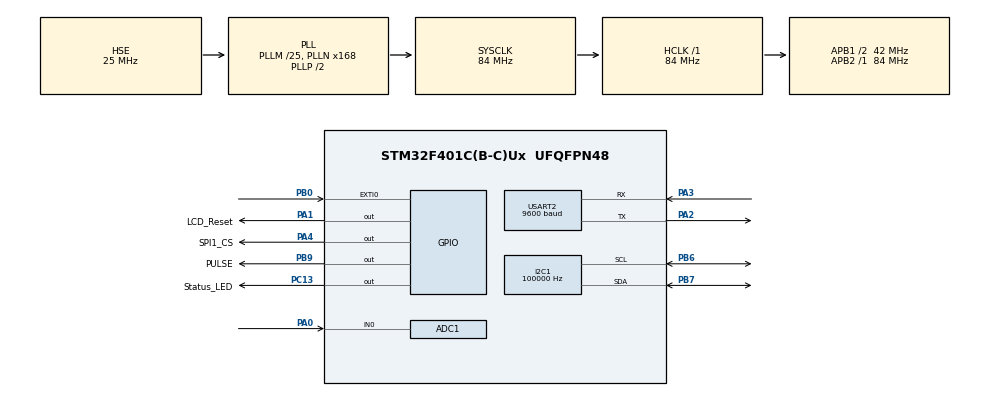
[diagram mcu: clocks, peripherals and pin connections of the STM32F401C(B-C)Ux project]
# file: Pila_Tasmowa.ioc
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ADC1.Channel-0\#ChannelRegularConversion=ADC_CHANNEL_0
ADC1.NbrOfConversionFlag=1
ADC1.Rank-0\#ChannelRegularConversion=1
ADC1.SamplingTime-0\#ChannelRegularConversion=ADC_SAMPLETIME_3CYCLES
ADC1.master=1
Dma.Request0=USART2_TX
Dma.USART2_TX.0.Direction=DMA_MEMORY_TO_PERIPH
Dma.USART2_TX.0.FIFOMode=DMA_FIFOMODE_DISABLE
Dma.USART2_TX.0.Instance=DMA1_Stream6
Dma.USART2_TX.0.MemDataAlignment=DMA_MDATAALIGN_BYTE
Dma.USART2_TX.0.MemInc=DMA_MINC_ENABLE
Dma.USART2_TX.0.Mode=DMA_CIRCULAR
Dma.USART2_TX.0.PeriphDataAlignment=DMA_PDATAALIGN_BYTE
Dma.USART2_TX.0.PeriphInc=DMA_PINC_DISABLE
Dma.USART2_TX.0.Priority=DMA_PRIORITY_HIGH
FREERTOS.BinarySemaphores01=InOutSem,Dynamic,NULL
FREERTOS.Tasks01=Input,3,128,StartInput,Default,NULL,Dynamic,NULL,NULL;Compute,0,128,StartCompute,Default,NULL,Dynamic,NULL,NULL;Output,0,128,StartOutput,Default,NULL,Dynamic,NULL,NULL;Auto,0,128,StartAuto,Default,NULL,Dynamic,NULL,NULL;Manual,0,128,StartManual,Default,NULL,Dynamic,NULL,NULL;LCDUpdate,0,128,StartLCDUpdate,Default,NULL,Dynamic,NULL,NULL
FREERTOS.Timers01=OTimer1,OTimer1Callback,osTimerOnce,Default,NULL,Dynamic,NULL;OTimer2,OTimer2Callback,osTimerOnce,Default,NULL,Dynamic,NULL;OTimer3,OTimer3Callback,osTimerOnce,Default,NULL,Dynamic,NULL;OTimer4,OTimer4Callback,osTimerOnce,Default,NULL,Dynamic,NULL;OTimer5,OTimer5Callback,osTimerOnce,Default,NULL,Dynamic,NULL;OTimer6,OTimer6Callback,osTimerOnce,Default,NULL,Dynamic,NULL;OTimer7,OTimer7Callback,osTimerOnce,Default,NULL,Dynamic,NULL;OTimer8,OTimer8Callback,osTimerOnce,Default,NULL,Dynamic,NULL;OTimer9,OTimer9Callback,osTimerOnce,Default,NULL,Dynamic,NULL;OTimer10,OTimer10Callback,osTimerOnce,Default,NULL,Dynamic,NULL
FREERTOS.configTIMER_TASK_PRIORITY=6
FREERTOS.configUSE_NEWLIB_REENTRANT=1
FREERTOS.configUSE_PREEMPTION=1
FREERTOS.configUSE_TIMERS=1
I2C1.ClockSpeed=100000
I2C1.I2C_Mode=I2C_Standard
Mcu.Family=STM32F4
Mcu.Name=STM32F401C(B-C)Ux
Mcu.Package=UFQFPN48
NVIC.DMA1_Stream6_IRQn=true\:5\:0\:false\:false\:true\:true\:false\:true\:true
NVIC.PriorityGroup=NVIC_PRIORITYGROUP_4
NVIC.TIM1_UP_TIM10_IRQn=true\:15\:0\:false\:false\:true\:false\:false\:true\:true
NVIC.TimeBase=TIM1_UP_TIM10_IRQn
NVIC.TimeBaseIP=TIM1
PA0-WKUP.Signal=ADCx_IN0
PA1.GPIO_Label=LCD_Reset
PA1.GPIO_Speed=GPIO_SPEED_FREQ_HIGH
PA1.PinState=GPIO_PIN_SET
PA1.Signal=GPIO_Output
PA13.Mode=Serial_Wire
PA13.Signal=SYS_JTMS-SWDIO
PA14.Mode=Serial_Wire
PA14.Signal=SYS_JTCK-SWCLK
PA2.GPIO_PuPd=GPIO_PULLUP
PA2.Mode=Asynchronous
PA2.Signal=USART2_TX
PA3.GPIO_PuPd=GPIO_PULLUP
PA3.Mode=Asynchronous
PA3.Signal=USART2_RX
PA4.GPIO_Label=SPI1_CS
PA4.GPIO_Speed=GPIO_SPEED_FREQ_HIGH
PA4.PinState=GPIO_PIN_SET
PA4.Signal=GPIO_Output
PB0.Signal=GPXTI0
PB6.Mode=I2C
PB6.Signal=I2C1_SCL
PB7.Mode=I2C
PB7.Signal=I2C1_SDA
PB9.GPIO_Label=PULSE
PB9.Signal=GPIO_Output
PC13-ANTI_TAMP.GPIO_Label=Status_LED
PC13-ANTI_TAMP.Signal=GPIO_Output
PC14-OSC32_IN.Mode=LSE-External-Oscillator
PC14-OSC32_IN.Signal=RCC_OSC32_IN
PC15-OSC32_OUT.Mode=LSE-External-Oscillator
PC15-OSC32_OUT.Signal=RCC_OSC32_OUT
PH0\ -\ OSC_IN.Mode=HSE-External-Oscillator
PH0\ -\ OSC_IN.Signal=RCC_OSC_IN
PH1\ -\ OSC_OUT.Mode=HSE-External-Oscillator
PH1\ -\ OSC_OUT.Signal=RCC_OSC_OUT
ProjectManager.HeapSize=0x200
ProjectManager.StackSize=0x400
ProjectManager.TargetToolchain=STM32CubeIDE
RCC.48MHZClocksFreq_Value=24000000
RCC.AHBFreq_Value=84000000
RCC.APB1CLKDivider=RCC_HCLK_DIV2
RCC.APB1Freq_Value=42000000
RCC.APB1TimFreq_Value=84000000
RCC.APB2Freq_Value=84000000
RCC.APB2TimFreq_Value=84000000
RCC.CortexFreq_Value=84000000
RCC.HCLKFreq_Value=84000000
RCC.HSE_VALUE=25000000
RCC.HSI_VALUE=16000000
RCC.PLLM=25
RCC.PLLN=168
RCC.PLLQ=7
RCC.PLLSourceVirtual=RCC_PLLSOURCE_HSE
RCC.SYSCLKFreq_VALUE=84000000
RCC.SYSCLKSource=RCC_SYSCLKSOURCE_PLLCLK
RCC.VCOOutputFreq_Value=168000000
SH.ADCx_IN0.0=ADC1_IN0,IN0
USART2.BaudRate=9600
USART2.VirtualMode=VM_ASYNC
VP_FREERTOS_VS_CMSIS_V1.Mode=CMSIS_V1
VP_SYS_VS_tim1.Mode=TIM1
board=custom

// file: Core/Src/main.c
/* USER CODE BEGIN Header */
/**
  ******************************************************************************
  * @file           : main.c
  * @brief          : Main program body
  ******************************************************************************
  * @attention
  *
  * <h2><center>&copy; Copyright (c) 2022 STMicroelectronics.
  * All rights reserved.</center></h2>
  *
  * This software component is licensed by ST under BSD 3-Clause license,
  * the "License"; You may not use this file except in compliance with the
  * License. You may obtain a copy of the License at:
  *                        opensource.org/licenses/BSD-3-Clause
  *
  ******************************************************************************
  */
/* USER CODE END Header */
#include "main.h"
#include "cmsis_os.h"
#include "adc.h"
#include "dma.h"
#include "i2c.h"
#include "usart.h"
#include "gpio.h"

/* USER CODE BEGIN Includes */
#include "Pila.h"
#include "UART_LCD.h"
#include <stdlib.h>
#include <stdio.h>
#include <string.h>
/* USER CODE END Includes */

/* USER CODE BEGIN PM */
#define CS_HIGH 	HAL_GPIO_WritePin(SPI1_CS_GPIO_Port, SPI1_CS_Pin, 1)
#define CS_LOW	 	HAL_GPIO_WritePin(SPI1_CS_GPIO_Port, SPI1_CS_Pin, 0)

/* USER CODE END PM */

/* USER CODE BEGIN PV */
uint8_t Data[3] = {OUTPUT_REGISTER, 0x00, 0x00}; //0b0000 1100, write to output ports
uint8_t Config[3] = {CONFIG_REGISTER, 0x00, 0x00}; //0b1100 0000, Port 1 configure as output, Port 0 configure as output
extern uint16_t PartCounter;
uint8_t StringBuffer[50];
uint8_t size = 0;

/* USER CODE END PV */

void SystemClock_Config(void);
void MX_FREERTOS_Init(void);

int main(void)
{

  /* MCU Configuration--------------------------------------------------------*/

  /* Reset of all peripherals, Initializes the Flash interface and the Systick. */
  HAL_Init();

  /* Configure the system clock */
  SystemClock_Config();

  /* Initialize all configured peripherals */
  MX_GPIO_Init();
  MX_DMA_Init();
  MX_ADC1_Init();
  MX_I2C1_Init();
  MX_USART2_UART_Init();
  /* USER CODE BEGIN 2 */
  //Send configuration to PCA to output via I2C command (set to OUTPUT and output state to OFF)
  HAL_I2C_Master_Transmit(&hi2c1, OUTPUT_MODULE_ADDR_1, Config, 3, 10);
  HAL_I2C_Master_Transmit(&hi2c1, OUTPUT_MODULE_ADDR_2, Config, 3, 10);
  HAL_I2C_Master_Transmit(&hi2c1, OUTPUT_MODULE_ADDR_1, Data, 3, 10);
  HAL_I2C_Master_Transmit(&hi2c1, OUTPUT_MODULE_ADDR_2, Data, 3, 10);

  LCD_Init();

  /* USER CODE END 2 */

  /* Call init function for freertos objects (in cmsis_os2.c) */
  MX_FREERTOS_Init();

  /* Start scheduler */
  osKernelStart();

  /* We should never get here as control is now taken by the scheduler */

  /* Infinite loop */
  while (1)
  {

  }
}

void SystemClock_Config(void)
{
  RCC_OscInitTypeDef RCC_OscInitStruct = {0};
  RCC_ClkInitTypeDef RCC_ClkInitStruct = {0};

  /** Configure the main internal regulator output voltage
  */
  __HAL_RCC_PWR_CLK_ENABLE();
  __HAL_PWR_VOLTAGESCALING_CONFIG(PWR_REGULATOR_VOLTAGE_SCALE2);

  /** Initializes the RCC Oscillators according to the specified parameters
  * in the RCC_OscInitTypeDef structure.
  */
  RCC_OscInitStruct.OscillatorType = RCC_OSCILLATORTYPE_HSE;
  RCC_OscInitStruct.HSEState = RCC_HSE_ON;
  RCC_OscInitStruct.PLL.PLLState = RCC_PLL_ON;
  RCC_OscInitStruct.PLL.PLLSource = RCC_PLLSOURCE_HSE;
  RCC_OscInitStruct.PLL.PLLM = 25;
  RCC_OscInitStruct.PLL.PLLN = 168;
  RCC_OscInitStruct.PLL.PLLP = RCC_PLLP_DIV2;
  RCC_OscInitStruct.PLL.PLLQ = 7;
  if (HAL_RCC_OscConfig(&RCC_OscInitStruct) != HAL_OK)
  {
    Error_Handler();
  }

  /** Initializes the CPU, AHB and APB buses clocks
  */
  RCC_ClkInitStruct.ClockType = RCC_CLOCKTYPE_HCLK|RCC_CLOCKTYPE_SYSCLK
                              |RCC_CLOCKTYPE_PCLK1|RCC_CLOCKTYPE_PCLK2;
  RCC_ClkInitStruct.SYSCLKSource = RCC_SYSCLKSOURCE_PLLCLK;
  RCC_ClkInitStruct.AHBCLKDivider = RCC_SYSCLK_DIV1;
  RCC_ClkInitStruct.APB1CLKDivider = RCC_HCLK_DIV2;
  RCC_ClkInitStruct.APB2CLKDivider = RCC_HCLK_DIV1;

  if (HAL_RCC_ClockConfig(&RCC_ClkInitStruct, FLASH_LATENCY_2) != HAL_OK)
  {
    Error_Handler();
  }
}

void HAL_TIM_PeriodElapsedCallback(TIM_HandleTypeDef *htim)
{
  if (htim->Instance == TIM1)
  {
    HAL_IncTick();
  }
}

void Error_Handler(void)
{
  __disable_irq();
  while (1)
  {
  }
}

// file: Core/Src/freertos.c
/* USER CODE BEGIN Header */
/**
  ******************************************************************************
  * File Name          : freertos.c
  * Description        : Code for freertos applications
  ******************************************************************************
  * @attention
  *
  * <h2><center>&copy; Copyright (c) 2022 STMicroelectronics.
  * All rights reserved.</center></h2>
  *
  * This software component is licensed by ST under Ultimate Liberty license
  * SLA0044, the "License"; You may not use this file except in compliance with
  * the License. You may obtain a copy of the License at:
  *                             www.st.com/SLA0044
  *
  ******************************************************************************
  */
/* USER CODE END Header */

#include "FreeRTOS.h"
#include "task.h"
#include "main.h"
#include "cmsis_os.h"

/* USER CODE BEGIN Includes */
#include "i2c.h"
#include "Pila.h"
#include "UART_LCD.h"
#include <stdlib.h>
#include <stdio.h>
/* USER CODE END Includes */

/* USER CODE BEGIN PD */
#define OS_DELAY 20
#define LCD_DELAY 60
#define BUTTON_PRESS_DELAY 10
#define BUTTON_HOLD_DELAY 1
/* USER CODE END PD */

/* USER CODE BEGIN Variables */
uint8_t Input_1[2];			//Input data buffer
uint8_t Input_2[2];
uint8_t Input_3[2];
uint8_t Input_4[2];
uint16_t Input_1_Sum = 0;
uint16_t Input_2_Sum = 0;
uint16_t Input_3_Sum = 0;
uint8_t SawTension = 0;
uint8_t SawMatClamp = 0;
uint8_t MatClamp = 0;
uint8_t SawDownDelay = 0;
uint8_t CheckForBrokenSaw = 0;
uint8_t Step = 0;
uint8_t IsRunning = 0;
uint8_t EmergencyStop = 0;
uint8_t BrokenBlade = 0;
///////////////////////////////////////////BUTTTON CONTROLL BEGIN
uint8_t LeftButtonPressed = 0;
uint8_t RightButtonPressed = 0;
uint8_t CenterButtonPressed = 0;
uint8_t LeftButtonPressDuration = BUTTON_PRESS_DELAY;
uint8_t RightButtonPressDuration = BUTTON_PRESS_DELAY;
uint8_t CenterButtonPressDuration = BUTTON_PRESS_DELAY;
///////////////////////////////////////////BUTTON CONTROLL END
uint16_t NominalPartCount =  1;
uint16_t CompletePartCount = 0;
char LCDBufferLine1 [25];
char LCDBufferLine2 [25];
/*************************/
uint8_t Output_1[3] = {OUTPUT_REGISTER, 0x00, 0x00};		//Output data buffer
uint8_t Output_2[3] = {OUTPUT_REGISTER, 0x00, 0x00};
uint16_t Output_1_Sum = 0;
uint16_t Output_2_Sum = 0;

///////////////////////////////////////////RGB CONTROLL BEGIN
uint8_t BacklightColor = BLUE;

///////////////////////////////////////////RGB CONTROLL END

/* USER CODE END Variables */
osThreadId InputHandle;
osThreadId ComputeHandle;
osThreadId OutputHandle;
osThreadId AutoHandle;
osThreadId ManualHandle;
osThreadId LCDUpdateHandle;
osTimerId OTimer1Handle;
osTimerId OTimer2Handle;
osTimerId OTimer3Handle;
osTimerId OTimer4Handle;
osTimerId OTimer5Handle;
osTimerId OTimer6Handle;
osTimerId OTimer7Handle;
osTimerId OTimer8Handle;
osTimerId OTimer9Handle;
osTimerId OTimer10Handle;
osSemaphoreId InOutSemHandle;

/* USER CODE BEGIN FunctionPrototypes */
void AllOutputsOff(void);
void UpdateLCDDisplay (void);
void ButtonRoutine(void);
/* USER CODE END FunctionPrototypes */

void StartInput(void const * argument);
void StartCompute(void const * argument);
void StartOutput(void const * argument);
void StartAuto(void const * argument);
void StartManual(void const * argument);
void StartLCDUpdate(void const * argument);
void OTimer1Callback(void const * argument);
void OTimer2Callback(void const * argument);
void OTimer3Callback(void const * argument);
void OTimer4Callback(void const * argument);
void OTimer5Callback(void const * argument);
void OTimer6Callback(void const * argument);
void OTimer7Callback(void const * argument);
void OTimer8Callback(void const * argument);
void OTimer9Callback(void const * argument);
void OTimer10Callback(void const * argument);

void MX_FREERTOS_Init(void); /* (MISRA C 2004 rule 8.1) */

/* GetIdleTaskMemory prototype (linked to static allocation support) */
void vApplicationGetIdleTaskMemory( StaticTask_t **ppxIdleTaskTCBBuffer, StackType_t **ppxIdleTaskStackBuffer, uint32_t *pulIdleTaskStackSize );

/* GetTimerTaskMemory prototype (linked to static allocation support) */
void vApplicationGetTimerTaskMemory( StaticTask_t **ppxTimerTaskTCBBuffer, StackType_t **ppxTimerTaskStackBuffer, uint32_t *pulTimerTaskStackSize );

/* USER CODE BEGIN GET_IDLE_TASK_MEMORY */
static StaticTask_t xIdleTaskTCBBuffer;
static StackType_t xIdleStack[configMINIMAL_STACK_SIZE];

void vApplicationGetIdleTaskMemory( StaticTask_t **ppxIdleTaskTCBBuffer, StackType_t **ppxIdleTaskStackBuffer, uint32_t *pulIdleTaskStackSize )
{
  *ppxIdleTaskTCBBuffer = &xIdleTaskTCBBuffer;
  *ppxIdleTaskStackBuffer = &xIdleStack[0];
  *pulIdleTaskStackSize = configMINIMAL_STACK_SIZE;
  /* place for user code */
}
/* USER CODE END GET_IDLE_TASK_MEMORY */

/* USER CODE BEGIN GET_TIMER_TASK_MEMORY */
static StaticTask_t xTimerTaskTCBBuffer;
static StackType_t xTimerStack[configTIMER_TASK_STACK_DEPTH];

void vApplicationGetTimerTaskMemory( StaticTask_t **ppxTimerTaskTCBBuffer, StackType_t **ppxTimerTaskStackBuffer, uint32_t *pulTimerTaskStackSize )
{
  *ppxTimerTaskTCBBuffer = &xTimerTaskTCBBuffer;
  *ppxTimerTaskStackBuffer = &xTimerStack[0];
  *pulTimerTaskStackSize = configTIMER_TASK_STACK_DEPTH;
  /* place for user code */
}
/* USER CODE END GET_TIMER_TASK_MEMORY */

void MX_FREERTOS_Init(void) {

  /* Create the semaphores(s) */
  /* definition and creation of InOutSem */
  osSemaphoreDef(InOutSem);
  InOutSemHandle = osSemaphoreCreate(osSemaphore(InOutSem), 1);

  /* Create the timer(s) */
  /* definition and creation of OTimer1 */
  osTimerDef(OTimer1, OTimer1Callback);
  OTimer1Handle = osTimerCreate(osTimer(OTimer1), osTimerOnce, NULL);

  /* definition and creation of OTimer2 */
  osTimerDef(OTimer2, OTimer2Callback);
  OTimer2Handle = osTimerCreate(osTimer(OTimer2), osTimerOnce, NULL);

  /* definition and creation of OTimer3 */
  osTimerDef(OTimer3, OTimer3Callback);
  OTimer3Handle = osTimerCreate(osTimer(OTimer3), osTimerOnce, NULL);

  /* definition and creation of OTimer4 */
  osTimerDef(OTimer4, OTimer4Callback);
  OTimer4Handle = osTimerCreate(osTimer(OTimer4), osTimerOnce, NULL);

  /* definition and creation of OTimer5 */
  osTimerDef(OTimer5, OTimer5Callback);
  OTimer5Handle = osTimerCreate(osTimer(OTimer5), osTimerOnce, NULL);

  /* definition and creation of OTimer6 */
  osTimerDef(OTimer6, OTimer6Callback);
  OTimer6Handle = osTimerCreate(osTimer(OTimer6), osTimerOnce, NULL);

  /* definition and creation of OTimer7 */
  osTimerDef(OTimer7, OTimer7Callback);
  OTimer7Handle = osTimerCreate(osTimer(OTimer7), osTimerOnce, NULL);

  /* definition and creation of OTimer8 */
  osTimerDef(OTimer8, OTimer8Callback);
  OTimer8Handle = osTimerCreate(osTimer(OTimer8), osTimerOnce, NULL);

  /* definition and creation of OTimer9 */
  osTimerDef(OTimer9, OTimer9Callback);
  OTimer9Handle = osTimerCreate(osTimer(OTimer9), osTimerOnce, NULL);

  /* definition and creation of OTimer10 */
  osTimerDef(OTimer10, OTimer10Callback);
  OTimer10Handle = osTimerCreate(osTimer(OTimer10), osTimerOnce, NULL);

  /* Create the thread(s) */
  /* definition and creation of Input */
  osThreadDef(Input, StartInput, osPriorityRealtime, 0, 128);
  InputHandle = osThreadCreate(osThread(Input), NULL);

  /* definition and creation of Compute */
  osThreadDef(Compute, StartCompute, osPriorityNormal, 0, 128);
  ComputeHandle = osThreadCreate(osThread(Compute), NULL);

  /* definition and creation of Output */
  osThreadDef(Output, StartOutput, osPriorityNormal, 0, 128);
  OutputHandle = osThreadCreate(osThread(Output), NULL);

  /* definition and creation of Auto */
  osThreadDef(Auto, StartAuto, osPriorityNormal, 0, 128);
  AutoHandle = osThreadCreate(osThread(Auto), NULL);

  /* definition and creation of Manual */
  osThreadDef(Manual, StartManual, osPriorityNormal, 0, 128);
  ManualHandle = osThreadCreate(osThread(Manual), NULL);

  /* definition and creation of LCDUpdate */
  osThreadDef(LCDUpdate, StartLCDUpdate, osPriorityNormal, 0, 128);
  LCDUpdateHandle = osThreadCreate(osThread(LCDUpdate), NULL);

}

void StartInput(void const * argument)
{
  /* USER CODE BEGIN StartInput */
  /* Infinite loop */
  for(;;)
  {
	  osSemaphoreWait(InOutSemHandle, 1000);
	  HAL_I2C_Master_Receive(&hi2c1, INPUT_MODULE_ADDR_1, Input_1, 2, 10);
	  HAL_I2C_Master_Receive(&hi2c1, INPUT_MODULE_ADDR_2, Input_2, 2, 10);
	  HAL_I2C_Master_Receive(&hi2c1, INPUT_MODULE_ADDR_3, Input_3, 2, 10);
	  HAL_I2C_Master_Receive(&hi2c1, INPUT_MODULE_ADDR_4, Input_4, 2, 10);
	  Input_1_Sum = (Input_1[1]<<8) | Input_1[0];				//Combine 2 8bit registers to 1 16 bit for the ease of operation
	  Input_2_Sum = (Input_2[1]<<8) | Input_2[0];				//Combine 2 8bit registers to 1 16 bit for the ease of operation
	  Input_3_Sum = (Input_3[1]<<8) | Input_3[0];				//Combine 2 8bit registers to 1 16 bit for the ease of operation
	  osSemaphoreRelease(InOutSemHandle);

	osDelay(OS_DELAY);
  }
  /* USER CODE END StartInput */
}

void StartCompute(void const * argument)
{
  /* USER CODE BEGIN StartCompute */
  /* Infinite loop */
  for(;;)
  {
	  if(IN_0_16_AUTO_MANUAL)
	  	    {
	  	    	osThreadSuspend(ManualHandle);
	  	    	osThreadResume(AutoHandle);
	  	    	BacklightColor = GREEN;
	  	    }
	  	    else
	  	    {
	  	    	osThreadSuspend(AutoHandle);
	  	    	osThreadResume(ManualHandle);
	  	    	BacklightColor = WHITE;
	  	    }
	  osDelay(OS_DELAY);
  }
  /* USER CODE END StartCompute */
}

void StartOutput(void const * argument)
{
  /* USER CODE BEGIN StartOutput */
  /* Infinite loop */
  for(;;)
  {
	  osSemaphoreWait(InOutSemHandle, 1000);
	  Output_2[1] = Output_2_Sum>>8;
	  Output_2[2] = Output_2_Sum & 0x00ff;
	  Output_1[1] = Output_1_Sum>>8;
	  Output_1[2] = Output_1_Sum & 0x00ff;
	  HAL_I2C_Master_Transmit(&hi2c1, OUTPUT_MODULE_ADDR_1, Output_1, 3, 10);
	  HAL_I2C_Master_Transmit(&hi2c1, OUTPUT_MODULE_ADDR_2, Output_2, 3, 10);
	  //UpdateLCDDisplay();
	  osSemaphoreRelease(InOutSemHandle);
	  osDelay(OS_DELAY);
  }
  /* USER CODE END StartOutput */
}

void StartAuto(void const * argument)
{
  /* USER CODE BEGIN StartAuto */
  /* Infinite loop */
  for(;;)
  {

	  	/*Start automatic cycle, hydraulic pump has to be on, stop button NOT pressed, saw position up (up limit switch)*/
	if (IN_0_15_HPUMP && IN_0_14_START && IN_0_13_STOP && IN_1_13_SAFETY && !(/*IN_1_14_SAWUP_LS*/IN_1_9_SAWDOWN_LS))
	{
		/*Set the first step. Steps in increments of 10 for easy code modification and updates*/
		EmergencyStop = 0;
		BrokenBlade = 0;
		IsRunning = 1;
		Step = 10;
	}

	else if (!IsRunning)
	{
		if (IN_1_9_SAWDOWN_LS)
		{
			EmergencyStop = 1;
		}
		else
		{
			EmergencyStop = 0;
		}
	}

		/*Anytime if STOP is pressed, either hood open (safety latch), Hydraulic Pump turned off or either fuses blown (10 and 11), stop AUTO*/
	if(!(IN_0_13_STOP) || !(IN_1_13_SAFETY) || !(IN_0_15_HPUMP) || IN_1_16_FUSE10 || IN_1_15_FUSE11)
	{
		/*Step 0 is the stop for all output and the AUTO cycle*/
		BacklightColor = RED;
		EmergencyStop = 1;
		Step = 0;
	}
		/*Chip collector spiral ON/OFF. Can be toggled at any time in AUTO or MANUAL*/
	if(IN_0_2_CHIP)
	{
		OUT_0_7_CHIP_ON;
	}
	else
	{
		OUT_0_7_CHIP_OFF;
	}
		/*Broken blade detection. Passive wheel stall detection - stall means broken blade. This particular check is for the positive signal*/
	if (IN_1_8_ROTATION && CheckForBrokenSaw)
	{
		osTimerStart(OTimer7Handle, 3000);
	}
		/*Broken blade detection. Passive wheel stall detection - stall means broken blade. This particular check is for the negative signal*/
	if(!(IN_1_8_ROTATION) && CheckForBrokenSaw)
	{
		osTimerStart(OTimer8Handle, 4000);
	}
		/*Hydraulic Pump can be turned ON/OFF any time in the cycle. Turning off the HPump will stop the AUTO cycle and return the Step count to 0*/
	if(IN_0_15_HPUMP)
	{
		OUT_0_12_HPUMP_ON;
	}
	else
	{
		OUT_0_12_HPUMP_OFF;
	}

	if(IsRunning)
	{
		BacklightColor = GREEN;
		sprintf(LCDBufferLine1, "AUTO            ");
		if(!(IN_1_4_SELECT_COUNTER))
			sprintf(LCDBufferLine2, "CIECIE %d/%d      ", CompletePartCount, NominalPartCount);
		else
			sprintf(LCDBufferLine2, "LICZ MECHANICZNY");
	}

	switch (Step)
	{
		case 0: /*Stops all output and AUTO cycle*/
			AllOutputsOff();
				/*Display information if open hatch limit switch or safety E-STOP*/
			if (EmergencyStop)
			{
				if (!(IN_1_13_SAFETY)) 	//Hatch open/E-Stop active
				{
					//BacklightColor = RED;
					sprintf(LCDBufferLine1, "E-STOP/KRANCOWKA");
					sprintf(LCDBufferLine2, "KLAPA           ");
				}

				else if (IN_1_16_FUSE10)		//Blown Resetable fuse 10F1
				{
					//BacklightColor = RED;
					sprintf(LCDBufferLine1, "BEZPIECZNIK 10F1");
					sprintf(LCDBufferLine2, "                ");
				}

				else if (IN_1_15_FUSE11)		//Blown Resetable fuse 11F1
				{
					//BacklightColor = RED;
					sprintf(LCDBufferLine1, "BEZPIECZNIK 11F1");
					sprintf(LCDBufferLine2, "                ");
				}

				else if (!(IN_0_15_HPUMP))		//Hydraulic pump turned off
				{
					//BacklightColor = RED;
					sprintf(LCDBufferLine1, "POMPA HYDR.     ");
					sprintf(LCDBufferLine2, "WYLACZONA!      ");
				}
				else if ((!IsRunning) && (IN_1_9_SAWDOWN_LS))
				{
					BacklightColor = RED;
					sprintf(LCDBufferLine1, "OPUSC PILE      ");
					sprintf(LCDBufferLine2, "(TRYB RECZNY)   ");
				}

			}

			else if(BrokenBlade)
			{
				BacklightColor = RED;
				sprintf(LCDBufferLine1, "PILA ZERWANA    ");
				sprintf(LCDBufferLine2, "                ");
			}

			else
			{
				BacklightColor = GREEN;
				sprintf(LCDBufferLine1, "WCISNIJ         ");
				sprintf(LCDBufferLine2, "START!          ");
			}

				/*Display if broken blade detection worked*/

		break;
		case 10: /*Raises the blade. Redundant action since the blade has to be raised for the cycle to start. Leaving it here. Try and stop me!*/
				/*prepare material for cutting, now the blade starts at the bottom*/
			if(IN_1_7_FEED)
				{
				if (IN_1_14_SAWUP_LS)
					{
						OUT_0_3_SAWUP_ON;
					}
				}
				else
				{
					osDelay(500);
					OUT_0_3_SAW_UP_OFF;
					Step = 11;
				}
		break;
		case 11: /*Rear vice unclamp for reposition. Vice opening has no limit switch, timer based.*/
			if (IN_1_12_MAT_REV_LS)
			{

				OUT_0_9_MAT_CL_UNCLAMP_ON;
				osDelay(500);
				OUT_0_9_MAT_CL_UNCLAMP_OFF;
			}
			else if (!SawMatClamp)
			{

				osDelay(500);
			}
				Step = 12;
		break;

		case 12:/*Move the rear vice in to loading position. Limit switch based.*/
			if(IN_1_12_MAT_REV_LS)
			{
				OUT_0_10_MAT_FWD_ON;
			}
			else
			{
				OUT_0_10_MAT_FWD_OFF;
				Step = 13;
			}
		break;

		case 13: /*Clamp rear vice. Timer based.*/

				OUT_0_8_MAT_CL_CLAMP_ON;
				osDelay(1500);
				OUT_0_8_MAT_CL_CLAMP_OFF;
				Step = 14;

		break;

		case 14: /*Open the main vice slightly, release the cut material. No limit switches, timer based.*/

				OUT_0_6_SAW_CL_UNCLAMP_ON;
				osDelay(700);
				OUT_0_6_SAW_CL_UNCLAMP_OFF;
				Step = 15;
		break;

		case 15: /*Move the material forward, prepare next cut. Limit switch based.*/
			if(IN_1_11_MAT_FWD_LS)
			{
				OUT_0_11_MAT_REV_ON;
			}
			else
			{
				OUT_0_11_MAT_REV_OFF;
				Step = 20;
			}
		break;

		case 20: /*Clamp the main vice (front). No limit and pressure switch (yet). Clamping lasts 2sec. Manual material positioning requirement. Remove after installing a pressure switch.*/
			if (!SawMatClamp)
			{
				SawMatClamp = 1;
				OUT_0_5_SAW_CL_CLAMP_ON;
				osTimerStart(OTimer2Handle, 2000);
			}
		break;

		case 21: /*Rear vice unclamp for reposition. Vice opening has no limit switch, timer based.*/
			if (!(SawMatClamp) && IN_1_12_MAT_REV_LS)
			{
				SawMatClamp = 1;
				OUT_0_9_MAT_CL_UNCLAMP_ON;
				osTimerStart(OTimer6Handle, 500);
			}
			else if (!SawMatClamp)
			{
				SawMatClamp = 1;
				osTimerStart(OTimer6Handle, 500);
			}
		break;

		case 30: /*Move the rear vice in to loading position. Limit switch based.*/
			if(IN_1_12_MAT_REV_LS)
			{
				OUT_0_10_MAT_FWD_ON;
			}
			else
			{
				OUT_0_10_MAT_FWD_OFF;
				Step = 40;
			}
		break;

		case 40: /*Clamp rear vice. Timer based.*/
			if(!SawMatClamp)
			{
				SawMatClamp = 1;
				OUT_0_8_MAT_CL_CLAMP_ON;
				osTimerStart(OTimer9Handle, 1000);
			}

		break;

		case 50: /*Start the saw and according broken blade detection timers*/
			OUT_0_1_SAW_ON;
			/*This parameter starts the "Broken blade detection" feature. It starts after the blade is in motion. Otherwise it will stop preemptively.*/
			CheckForBrokenSaw = 1;
			osTimerStart(OTimer7Handle, 1000);
			osTimerStart(OTimer8Handle, 2000);
			Step = 60;
		break;

		case 60: /*Lower the saw. Start the cutting process. Limit switch based.*/
			if (IN_1_9_SAWDOWN_LS)
			{
				OUT_0_4_SAWDOWN_ON;
				OUT_0_7_CHIP_ON;
				OUT_0_16_3PHASE_BACK_ON;
				if(IN_1_7_FEED)
				{
					OUT_0_13_FAST_FEED_OFF;
				}
				else
				{
					OUT_0_13_FAST_FEED_ON;
				}
			}
			else
			{
				OUT_0_13_FAST_FEED_OFF;
				/*Reach the lower limit switch and wait for 2 seconds.*/
				if(!(SawDownDelay))
				{
					SawDownDelay = 1;
					/*Increment the counter*/ //TODO Old Timer incrementation lives here
					if(!(IN_1_4_SELECT_COUNTER))
						CompletePartCount++;
					else
					{
						OUT_0_2_COUNTER_ON;
						osDelay(100);
						OUT_0_2_COUNTER_OFF;
					}
					osTimerStart(OTimer3Handle, 1000);
				}
			}
		break;

		case 70: /*Raise the blade again to the feed limit switch. Limit switch based. You know the drill... saw...*/
			if(IN_1_7_FEED)
				{
				if (IN_1_14_SAWUP_LS)
					{
						OUT_0_3_SAWUP_ON;
					}
				}
				else
				{
					osDelay(500);
					OUT_0_3_SAW_UP_OFF;
					Step = 80;
				}
		break;

		case 80: /*Open the main vice slightly, release the cut material. No limit switches, timer based.*/
			if (!(SawMatClamp) && IN_1_5_SAW_CL_UNCLAMP_LS)
			{
				SawMatClamp = 1;
				OUT_0_6_SAW_CL_UNCLAMP_ON;
				osTimerStart(OTimer4Handle, 700);
			}
		break;

		case 90: /*Move the material forward, prepare next cut. Limit switch based.*/
			if(IN_1_11_MAT_FWD_LS)
			{
				OUT_0_11_MAT_REV_ON;
			}
			else
			{
				OUT_0_11_MAT_REV_OFF;
				Step = 100;
			}
		break;

		case 100: /*Reclamp the main vice. No limit switches, timer based.*/
			if (!SawMatClamp)
			{
				SawMatClamp = 1;
				OUT_0_5_SAW_CL_CLAMP_ON;
				osTimerStart(OTimer5Handle, 2000);
			}
		break;

		case 110: /*Loosen the rear vice slightly. Timer based. Repeat the cutting cycle. Jump to Step 21*/
			if(!(MatClamp))
			{
				MatClamp = 1;
				//OUT_0_9_MAT_CL_UNCLAMP_ON;
				osTimerStart(OTimer2Handle, 300);
			}
		break;

	}
    osDelay(OS_DELAY);
  }
  /* USER CODE END StartAuto */
}

void StartManual(void const * argument)
{
  /* USER CODE BEGIN StartManual */
  /* Infinite loop */

  for(;;)
  {
	  if (IsRunning == 1)
	  {
		  AllOutputsOff();
		  IsRunning = 0;
	  }
	  /*Reset the broken saw check, so that it works correctly when the machine is switched back to AUTO.*/
	  CheckForBrokenSaw = 0;
	  EmergencyStop = 0;
	  BrokenBlade = 0;

	  /*Use this function to set the status and part counter*/
	  ButtonRoutine();
	  BacklightColor = WHITE;
	  sprintf(LCDBufferLine1, "Wprowadz ilosc  ");
	  sprintf(LCDBufferLine2, "           %d    ", NominalPartCount);

	if (IN_0_15_HPUMP)
	{
		OUT_0_12_HPUMP_ON;
	}
	else
	{
		OUT_0_12_HPUMP_OFF;
	}

	if (IN_0_14_START && IN_0_13_STOP)
		{
			OUT_0_1_SAW_ON;
		}

	if(!(IN_0_13_STOP))
	{
		OUT_0_1_SAW_OFF;
	}

	if(IN_0_12_SAWUP && IN_1_14_SAWUP_LS)
	{
		OUT_0_3_SAWUP_ON;
	}
	else
	{
		OUT_0_3_SAW_UP_OFF;
	}

	if(IN_0_11_SDOWN && IN_1_9_SAWDOWN_LS)
	{
		OUT_0_4_SAWDOWN_ON;
	}
	else
	{
		OUT_0_4_SAW_DOWN_OFF;
	}

	if(IN_0_10_MAT_CL_UNCLAMP)
	{
		OUT_0_9_MAT_CL_UNCLAMP_ON;
	}
	else
	{
		OUT_0_9_MAT_CL_UNCLAMP_OFF;
	}

	if(IN_0_9_MAT_CL_CLAMP)
	{
		OUT_0_8_MAT_CL_CLAMP_ON;
	}
	else
	{
		OUT_0_8_MAT_CL_CLAMP_OFF;
	}

	if(IN_0_8_MAT_REV && IN_1_11_MAT_FWD_LS)
	{
		OUT_0_11_MAT_REV_ON;
	}
	else
	{
		OUT_0_11_MAT_REV_OFF;
	}

	if(IN_0_7_MAT_FWD && IN_1_12_MAT_REV_LS)
	{
		OUT_0_10_MAT_FWD_ON;
	}
	else
	{
		OUT_0_10_MAT_FWD_OFF;
	}

	if(IN_0_6_SAW_CL_UNCLAMP && IN_1_5_SAW_CL_UNCLAMP_LS)
	{
		OUT_0_6_SAW_CL_UNCLAMP_ON;
	}
	else
	{
		OUT_0_6_SAW_CL_UNCLAMP_OFF;
	}

	if(IN_0_5_SAW_CL_CLAMP)
	{
		OUT_0_5_SAW_CL_CLAMP_ON;
	}
	else
	{
		OUT_0_5_SAW_CL_CLAMP_OFF;
	}

	if(IN_0_4_TENSION_UP)
	{
		if (!(SawTension))
		{
		SawTension = 1;
		OUT_0_14_TENSION_UP_ON;
		osTimerStart(OTimer1Handle, 5000);
		}
	}
	else
	{
		OUT_0_14_TENSION_UP_OFF;
		osTimerStop(OTimer1Handle);
	}

	if(IN_0_3_TENSION_DOWN)
	{
		SawTension = 0;
		OUT_0_15_TENSION_DOWN_ON;
	}
	else
	{
		OUT_0_15_TENSION_DOWN_OFF;
	}

	if(IN_0_2_CHIP)
	{
		OUT_0_7_CHIP_ON;
	}
	else
	{
		OUT_0_7_CHIP_OFF;
	}

    osDelay(OS_DELAY);
  }
  /* USER CODE END StartManual */
}

void StartLCDUpdate(void const * argument)
{
  /* USER CODE BEGIN StartLCDUpdate */
  /* Infinite loop */
  for(;;)
  {
	  osSemaphoreWait(InOutSemHandle, 1000);
	  UpdateLCDDisplay();
	  osSemaphoreRelease(InOutSemHandle);
	  osDelay(LCD_DELAY);
  }
  /* USER CODE END StartLCDUpdate */
}

/* OTimer1Callback function */
void OTimer1Callback(void const * argument)
{
  /* USER CODE BEGIN OTimer1Callback */
	OUT_0_14_TENSION_UP_OFF;
  /* USER CODE END OTimer1Callback */
}

/* OTimer2Callback function */
void OTimer2Callback(void const * argument)
{
  /* USER CODE BEGIN OTimer2Callback */
	MatClamp = 0;
	SawMatClamp = 0;
	OUT_0_5_SAW_CL_CLAMP_OFF;
	OUT_0_9_MAT_CL_UNCLAMP_OFF;
	Step = 21;
  /* USER CODE END OTimer2Callback */
}

/* OTimer3Callback function */
void OTimer3Callback(void const * argument)
{
  /* USER CODE BEGIN OTimer3Callback */
	SawDownDelay = 0;
	OUT_0_4_SAW_DOWN_OFF;
	if(!(IN_1_4_SELECT_COUNTER))
	{
		if((CompletePartCount != NominalPartCount)/*!(IN_0_1_COUNTER)*/ && IN_1_10_MAT_CLAMP)		//TODO wyedytowany licznik fizyczny na licznik cyfrowy z LCD
		{
			Step = 70;
		}
		else
		{
			Step = 0;
			IsRunning = 0;
			CompletePartCount = 0;
		}
	}
	else
	{
		if(/*(CompletePartCount != NominalPartCount)*/!(IN_0_1_COUNTER) && IN_1_10_MAT_CLAMP)		//TODO wyedytowany licznik fizyczny na licznik cyfrowy z LCD
				{
					Step = 70;
				}
				else
				{
					Step = 0;
					IsRunning = 0;
					CompletePartCount = 0;
				}
	}
  /* USER CODE END OTimer3Callback */
}

/* OTimer4Callback function */
void OTimer4Callback(void const * argument)
{
  /* USER CODE BEGIN OTimer4Callback */
	SawMatClamp = 0;
	OUT_0_6_SAW_CL_UNCLAMP_OFF;
	Step = 90;
  /* USER CODE END OTimer4Callback */
}

/* OTimer5Callback function */
void OTimer5Callback(void const * argument)
{
  /* USER CODE BEGIN OTimer5Callback */
	SawMatClamp = 0;
	OUT_0_5_SAW_CL_CLAMP_ON;
	Step = 110;
  /* USER CODE END OTimer5Callback */
}

/* OTimer6Callback function */
void OTimer6Callback(void const * argument)
{
  /* USER CODE BEGIN OTimer6Callback */
	SawMatClamp = 0;
	OUT_0_9_MAT_CL_UNCLAMP_OFF;
	Step = 30;
  /* USER CODE END OTimer6Callback */
}

/* OTimer7Callback function */
void OTimer7Callback(void const * argument)
{
  /* USER CODE BEGIN OTimer7Callback */
	Step = 0;
	BrokenBlade = 1;
  /* USER CODE END OTimer7Callback */
}

/* OTimer8Callback function */
void OTimer8Callback(void const * argument)
{
  /* USER CODE BEGIN OTimer8Callback */
	Step = 0;
	BrokenBlade = 2;
  /* USER CODE END OTimer8Callback */
}

/* OTimer9Callback function */
void OTimer9Callback(void const * argument)
{
  /* USER CODE BEGIN OTimer9Callback */
	SawMatClamp = 0;
	OUT_0_8_MAT_CL_CLAMP_OFF;
	Step = 50;
  /* USER CODE END OTimer9Callback */
}

/* OTimer10Callback function */
void OTimer10Callback(void const * argument)
{
  /* USER CODE BEGIN OTimer10Callback */
	OUT_0_3_SAW_UP_OFF;
	Step = 80;
  /* USER CODE END OTimer10Callback */
}

/* USER CODE BEGIN Application */
void AllOutputsOff(void)
{
			OUT_0_16_3PHASE_BACK_OFF;	//Output_2_Sum &= ~			OUT_0_15_TENSION_DOWN_OFF;	Output_2_Sum &= ~0b0100000000000000
			//OUT_0_14_TENSION_UP_OFF;	//Output_2_Sum &= ~0b0010000000000000
			OUT_0_13_FAST_FEED_OFF;		//Output_2_Sum &= ~0b0001000000000000
			//OUT_0_12_HPUMP_OFF;		//Output_2_Sum &= ~0b0000100000000000
			OUT_0_11_MAT_REV_OFF;		//Output_2_Sum &= ~0b0000010000000000
			OUT_0_10_MAT_FWD_OFF;		//Output_2_Sum &= ~0b0000001000000000
			OUT_0_9_MAT_CL_UNCLAMP_OFF;	//Output_2_Sum &= ~0b0000000100000000
			OUT_0_8_MAT_CL_CLAMP_OFF;	//Output_2_Sum &= ~0b0000000010000000
			OUT_0_7_CHIP_OFF;			//Output_2_Sum &= ~0b0000000001000000
			OUT_0_6_SAW_CL_UNCLAMP_OFF;	//Output_2_Sum &= ~0b0000000000100000
			OUT_0_5_SAW_CL_CLAMP_OFF;	//Output_2_Sum &= ~0b0000000000010000
			OUT_0_4_SAW_DOWN_OFF;		//Output_2_Sum &= ~0b0000000000001000
			OUT_0_3_SAW_UP_OFF;			//Output_2_Sum &= ~0b0000000000000100
			//OUT_0_2_COUNTER_OFF;		//Output_2_Sum &= ~0b0000000000000010
			OUT_0_1_SAW_OFF;			//Output_2_Sum &= ~0b0000000000000001
			osTimerStop(OTimer1Handle);
			osTimerStop(OTimer2Handle);
			osTimerStop(OTimer3Handle);
			osTimerStop(OTimer4Handle);
			osTimerStop(OTimer5Handle);
			osTimerStop(OTimer6Handle);
			osTimerStop(OTimer7Handle);
			osTimerStop(OTimer8Handle);
			osTimerStop(OTimer9Handle);
			osTimerStop(OTimer10Handle);
			CheckForBrokenSaw = 0;

}

void ButtonRoutine(void)
{
///////////////////////////////////////LEFT BUTTON DECREMENT
	if (IN_1_3_HMI_LEFT && (NominalPartCount != 0))
	{
		if (!LeftButtonPressed)
		{
			LeftButtonPressed = 1;
			NominalPartCount--;
		}

		if (LeftButtonPressDuration == 0)
		{
			NominalPartCount--;
			LeftButtonPressDuration = BUTTON_HOLD_DELAY;
		}
		else
		{
			LeftButtonPressDuration--;
		}

	}
	else
	{
		LeftButtonPressDuration = BUTTON_PRESS_DELAY;
		LeftButtonPressed = 0;
	}

///////////////////////////////////////RIGHT BUTTON INCREMENT
	if (IN_1_1_HMI_RIGHT)
	{
		if (!RightButtonPressed && (NominalPartCount <= 999))
		{
			RightButtonPressed = 1;
			NominalPartCount++;
		}

		if (RightButtonPressDuration == 0)
		{
			NominalPartCount++;
			RightButtonPressDuration = BUTTON_HOLD_DELAY;
		}
		else
		{
			RightButtonPressDuration--;
		}

	}
	else
	{
		RightButtonPressDuration = BUTTON_PRESS_DELAY;
		RightButtonPressed = 0;
	}

///////////////////////////////////////CENTER BUTTON APPROVE
	if (IN_1_2_HMI_CENTER)
	{
		CenterButtonPressed = 1;
		LCD_Init();
	}
	else
	{
		CenterButtonPressed = 0;
	}
}

void UpdateLCDDisplay(void)
{
	LCD_Set_Cursor(1, 1);
	LCD_Write((uint8_t*)LCDBufferLine1, 16);
	LCD_Set_Cursor(1, 2);
	LCD_Write((uint8_t*)LCDBufferLine2, 16);
	if (BacklightColor == GREEN) LCD_SetRGB(0, 29, 0);
	else if (BacklightColor == RED) LCD_SetRGB(29, 0, 0);
	else if (BacklightColor == BLUE) LCD_SetRGB(0, 0, 29);
	else if (BacklightColor == WHITE) LCD_SetRGB(29, 29, 29);
}
/* USER CODE END Application */
